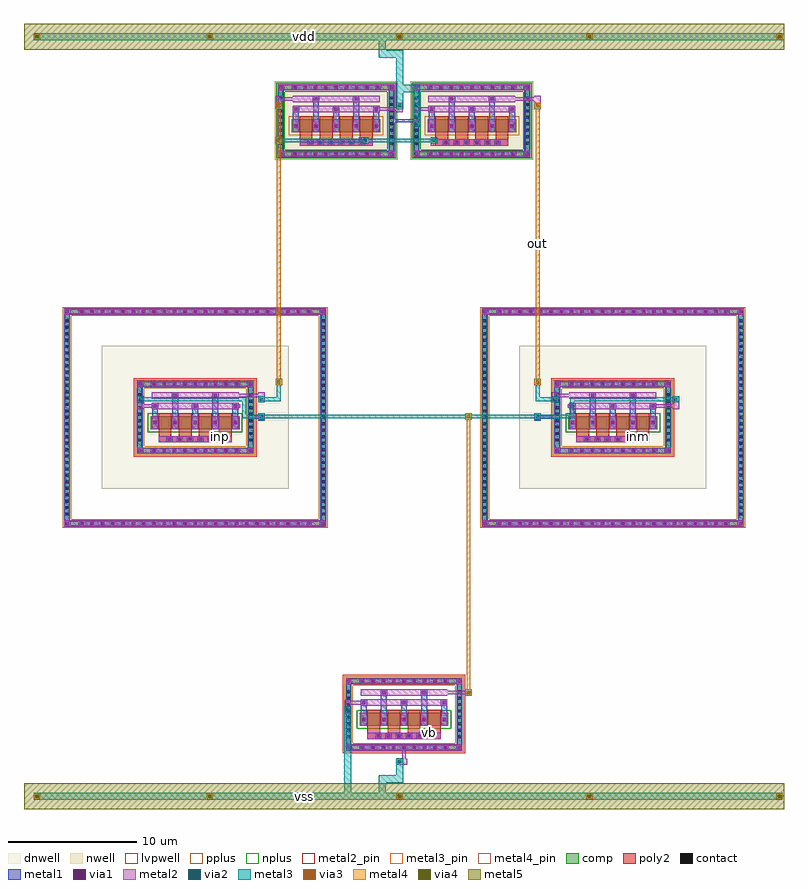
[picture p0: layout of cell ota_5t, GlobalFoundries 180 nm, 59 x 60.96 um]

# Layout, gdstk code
import gdstk
lib = gdstk.Library(unit=1e-6, precision=1e-09)
def R(c, l, rs):  # rectangles x0, y0, x1, y1
    for r in rs: c.add(gdstk.rectangle(r[:2], r[2:], *l))
def A(c, l, x, y, w, h, nx, ny, dx, dy):  # array of equal rectangles
    R(c, l, [(x+i*dx, y+j*dy, x+i*dx+w, y+j*dy+h) for i in range(nx) for j in range(ny)])
def P(c, l, *ps):  # polygons
    for p in ps: c.add(gdstk.Polygon(p, *l))
dnwell = (12, 0)
nwell = (21, 0)
comp = (22, 0)
poly2 = (30, 0)
pplus = (31, 0)
nplus = (32, 0)
contact = (33, 0)
metal1 = (34, 0)
via1 = (35, 0)
metal2 = (36, 0)
metal2_pin = (36, 10)
via2 = (38, 0)
via3 = (40, 0)
via4 = (41, 0)
metal3 = (42, 0)
metal3_pin = (42, 10)
metal4 = (46, 0)
metal4_pin = (46, 10)
metal5 = (81, 0)
lvpwell = (204, 0)

ota_5t = lib.new_cell('ota_5t')
R(ota_5t, dnwell, [(-23.48,20.54,-8.94,31.64), (8.94,20.54,23.48,31.64)])
R(ota_5t, nwell, [(-10.04,46.08,-0.5,52.18), (0.5,46.08,10.04,52.18)])
A(ota_5t, comp, -3.38, 0.28, 0.36, 0.36, 9, 2, 0.8, 5.18)
A(ota_5t, comp, -4.49, 1.12, 0.36, 0.36, 1, 8, 0, 0.5)
A(ota_5t, comp, 4.13, 1.12, 0.36, 0.36, 1, 8, 0, 0.5)
A(ota_5t, comp, -25.19, 17.68, 0.36, 0.36, 23, 2, 0.8, 16.46)
A(ota_5t, comp, 7.23, 17.68, 0.36, 0.36, 23, 2, 0.8, 16.46)
A(ota_5t, comp, -26.34, 18.41, 0.36, 0.36, 1, 31, 0, 0.5)
A(ota_5t, comp, -6.44, 18.41, 0.36, 0.36, 1, 31, 0, 0.5)
A(ota_5t, comp, 6.08, 18.41, 0.36, 0.36, 1, 31, 0, 0.5)
A(ota_5t, comp, 25.98, 18.41, 0.36, 0.36, 1, 31, 0, 0.5)
A(ota_5t, comp, -19.59, 23.32, 0.36, 0.36, 9, 2, 0.8, 5.18)
A(ota_5t, comp, 12.83, 23.32, 0.36, 0.36, 9, 2, 0.8, 5.18)
A(ota_5t, comp, -20.7, 24.16, 0.36, 0.36, 1, 8, 0, 0.5)
A(ota_5t, comp, -12.08, 24.16, 0.36, 0.36, 1, 8, 0, 0.5)
A(ota_5t, comp, 11.72, 24.16, 0.36, 0.36, 1, 8, 0, 0.5)
A(ota_5t, comp, 20.34, 24.16, 0.36, 0.36, 1, 8, 0, 0.5)
A(ota_5t, comp, -8.65, 46.36, 0.36, 0.36, 9, 2, 0.8, 5.18)
A(ota_5t, comp, 1.89, 46.36, 0.36, 0.36, 9, 2, 0.8, 5.18)
A(ota_5t, comp, -9.76, 47.2, 0.36, 0.36, 1, 8, 0, 0.5)
A(ota_5t, comp, -1.14, 47.2, 0.36, 0.36, 1, 8, 0, 0.5)
A(ota_5t, comp, 0.78, 47.2, 0.36, 0.36, 1, 8, 0, 0.5)
A(ota_5t, comp, 9.4, 47.2, 0.36, 0.36, 1, 8, 0, 0.5)
R(ota_5t, comp, [(-3.38,0.28,3.38,0.64), (-4.49,1.12,-4.13,4.98), (4.13,1.12,4.49,4.98), (-3.44,2.145,3.44,3.145), (-3.38,5.46,3.38,5.82), (-25.19,17.68,-7.23,18.04), (7.23,17.68,25.19,18.04), (-26.34,18.41,-25.98,33.77), (-6.44,18.41,-6.08,33.77), (6.08,18.41,6.44,33.77), (25.98,18.41,26.34,33.77), (-19.59,23.32,-12.83,23.68), (12.83,23.32,19.59,23.68), (-20.7,24.16,-20.34,28.02), (-12.08,24.16,-11.72,28.02), (11.72,24.16,12.08,28.02), (20.34,24.16,20.7,28.02), (-19.65,25.185,-12.77,26.185), (12.77,25.185,19.65,26.185), (-19.59,28.5,-12.83,28.86), (12.83,28.5,19.59,28.86), (-25.19,34.14,-7.23,34.5), (7.23,34.14,25.19,34.5), (-8.65,46.36,-1.89,46.72), (1.89,46.36,8.65,46.72), (-9.76,47.2,-9.4,51.06), (-1.14,47.2,-0.78,51.06), (0.78,47.2,1.14,51.06), (9.4,47.2,9.76,51.06), (-8.71,48.225,-1.83,49.225), (1.83,48.225,8.71,49.225), (-8.65,51.54,-1.89,51.9), (1.89,51.54,8.65,51.9)])
P(ota_5t, comp, [(-6.08,34.5),(-26.34,34.5),(-26.34,18.04),(-25.98,18.04),(-25.98,34.14),(-6.44,34.14),(-6.44,18.04),(-25.98,18.04),(-26.34,18.04),(-26.34,17.68),(-6.08,17.68)],
  [(-11.72,28.86),(-20.7,28.86),(-20.7,23.68),(-20.34,23.68),(-20.34,28.5),(-12.08,28.5),(-12.08,23.68),(-20.34,23.68),(-20.7,23.68),(-20.7,23.32),(-11.72,23.32)],
  [(4.49,5.82),(-4.49,5.82),(-4.49,0.64),(-4.13,0.64),(-4.13,5.46),(4.13,5.46),(4.13,0.64),(-4.13,0.64),(-4.49,0.64),(-4.49,0.28),(4.49,0.28)],
  [(9.76,51.9),(0.78,51.9),(0.78,46.72),(1.14,46.72),(1.14,51.54),(9.4,51.54),(9.4,46.72),(1.14,46.72),(0.78,46.72),(0.78,46.36),(9.76,46.36)],
  [(-0.78,51.9),(-9.76,51.9),(-9.76,46.72),(-9.4,46.72),(-9.4,51.54),(-1.14,51.54),(-1.14,46.72),(-9.4,46.72),(-9.76,46.72),(-9.76,46.36),(-0.78,46.36)],
  [(26.34,34.5),(6.08,34.5),(6.08,18.04),(6.44,18.04),(6.44,34.14),(25.98,34.14),(25.98,18.04),(6.44,18.04),(6.08,18.04),(6.08,17.68),(26.34,17.68)],
  [(20.7,28.86),(11.72,28.86),(11.72,23.68),(12.08,23.68),(12.08,28.5),(20.34,28.5),(20.34,23.68),(12.08,23.68),(11.72,23.68),(11.72,23.32),(20.7,23.32)])
A(ota_5t, poly2, -2.18, 1.175, 0.36, 0.36, 6, 1, 0.8, 0)
A(ota_5t, poly2, -2.84, 1.605, 1, 0.3, 4, 1, 1.56, 0)
A(ota_5t, poly2, -2.84, 1.905, 1, 1.48, 4, 1, 1.56, 0)
A(ota_5t, poly2, -18.39, 24.215, 0.36, 0.36, 6, 1, 0.8, 0)
A(ota_5t, poly2, 14.03, 24.215, 0.36, 0.36, 6, 1, 0.8, 0)
A(ota_5t, poly2, -19.05, 24.645, 1, 0.3, 4, 1, 1.56, 0)
A(ota_5t, poly2, 13.37, 24.645, 1, 0.3, 4, 1, 1.56, 0)
A(ota_5t, poly2, -19.05, 24.945, 1, 1.48, 4, 1, 1.56, 0)
A(ota_5t, poly2, 13.37, 24.945, 1, 1.48, 4, 1, 1.56, 0)
A(ota_5t, poly2, -7.45, 47.255, 0.36, 0.36, 6, 1, 0.8, 0)
A(ota_5t, poly2, 3.09, 47.255, 0.36, 0.36, 6, 1, 0.8, 0)
A(ota_5t, poly2, -8.11, 47.685, 1, 0.3, 4, 1, 1.56, 0)
A(ota_5t, poly2, 2.43, 47.685, 1, 0.3, 4, 1, 1.56, 0)
A(ota_5t, poly2, -8.11, 47.985, 1, 1.48, 4, 1, 1.56, 0)
A(ota_5t, poly2, 2.43, 47.985, 1, 1.48, 4, 1, 1.56, 0)
R(ota_5t, poly2, [(-2.84,1.105,2.84,1.605), (-19.05,24.145,-13.37,24.645), (13.37,24.145,19.05,24.645), (-8.11,47.185,-2.43,47.685), (2.43,47.185,8.11,47.685)])
R(ota_5t, pplus, [(-8.94,47.995,-1.6,49.455), (1.6,47.995,8.94,49.455)])
P(ota_5t, pplus, [(-5.92,34.66),(-26.5,34.66),(-26.5,18.2),(-25.82,18.2),(-25.82,33.98),(-6.6,33.98),(-6.6,18.2),(-25.82,18.2),(-26.5,18.2),(-26.5,17.52),(-5.92,17.52)],
  [(-11.56,29.02),(-20.86,29.02),(-20.86,23.84),(-20.18,23.84),(-20.18,28.34),(-12.24,28.34),(-12.24,23.84),(-20.18,23.84),(-20.86,23.84),(-20.86,23.16),(-11.56,23.16)],
  [(4.65,5.98),(-4.65,5.98),(-4.65,0.8),(-3.97,0.8),(-3.97,5.3),(3.97,5.3),(3.97,0.8),(-3.97,0.8),(-4.65,0.8),(-4.65,0.12),(4.65,0.12)],
  [(26.5,34.66),(5.92,34.66),(5.92,18.2),(6.6,18.2),(6.6,33.98),(25.82,33.98),(25.82,18.2),(6.6,18.2),(5.92,18.2),(5.92,17.52),(26.5,17.52)],
  [(20.86,29.02),(11.56,29.02),(11.56,23.84),(12.24,23.84),(12.24,28.34),(20.18,28.34),(20.18,23.84),(12.24,23.84),(11.56,23.84),(11.56,23.16),(20.86,23.16)])
R(ota_5t, nplus, [(-3.67,1.915,3.67,3.375), (-19.88,24.955,-12.54,26.415), (12.54,24.955,19.88,26.415)])
P(ota_5t, nplus, [(9.92,52.06),(0.62,52.06),(0.62,46.88),(1.3,46.88),(1.3,51.38),(9.24,51.38),(9.24,46.88),(1.3,46.88),(0.62,46.88),(0.62,46.2),(9.92,46.2)],
  [(-0.62,52.06),(-9.92,52.06),(-9.92,46.88),(-9.24,46.88),(-9.24,51.38),(-1.3,51.38),(-1.3,46.88),(-9.24,46.88),(-9.92,46.88),(-9.92,46.2),(-0.62,46.2)])
A(ota_5t, contact, -3.31, 0.35, 0.22, 0.22, 9, 2, 0.8, 5.18)
A(ota_5t, contact, -4.42, 1.19, 0.22, 0.22, 1, 8, 0, 0.5)
A(ota_5t, contact, 4.2, 1.19, 0.22, 0.22, 1, 8, 0, 0.5)
A(ota_5t, contact, -2.11, 1.245, 0.22, 0.22, 6, 1, 0.8, 0)
A(ota_5t, contact, -3.23, 2.535, 0.22, 0.22, 5, 1, 1.56, 0)
A(ota_5t, contact, -25.12, 17.75, 0.22, 0.22, 23, 2, 0.8, 16.46)
A(ota_5t, contact, 7.3, 17.75, 0.22, 0.22, 23, 2, 0.8, 16.46)
A(ota_5t, contact, -26.27, 18.48, 0.22, 0.22, 1, 31, 0, 0.5)
A(ota_5t, contact, -6.37, 18.48, 0.22, 0.22, 1, 31, 0, 0.5)
A(ota_5t, contact, 6.15, 18.48, 0.22, 0.22, 1, 31, 0, 0.5)
A(ota_5t, contact, 26.05, 18.48, 0.22, 0.22, 1, 31, 0, 0.5)
A(ota_5t, contact, -19.52, 23.39, 0.22, 0.22, 9, 2, 0.8, 5.18)
A(ota_5t, contact, 12.9, 23.39, 0.22, 0.22, 9, 2, 0.8, 5.18)
A(ota_5t, contact, -20.63, 24.23, 0.22, 0.22, 1, 8, 0, 0.5)
A(ota_5t, contact, -12.01, 24.23, 0.22, 0.22, 1, 8, 0, 0.5)
A(ota_5t, contact, 11.79, 24.23, 0.22, 0.22, 1, 8, 0, 0.5)
A(ota_5t, contact, 20.41, 24.23, 0.22, 0.22, 1, 8, 0, 0.5)
A(ota_5t, contact, -18.32, 24.285, 0.22, 0.22, 6, 1, 0.8, 0)
A(ota_5t, contact, 14.1, 24.285, 0.22, 0.22, 6, 1, 0.8, 0)
A(ota_5t, contact, -19.44, 25.575, 0.22, 0.22, 5, 1, 1.56, 0)
A(ota_5t, contact, 12.98, 25.575, 0.22, 0.22, 5, 1, 1.56, 0)
A(ota_5t, contact, -8.58, 46.43, 0.22, 0.22, 9, 2, 0.8, 5.18)
A(ota_5t, contact, 1.96, 46.43, 0.22, 0.22, 9, 2, 0.8, 5.18)
A(ota_5t, contact, -9.69, 47.27, 0.22, 0.22, 1, 8, 0, 0.5)
A(ota_5t, contact, -1.07, 47.27, 0.22, 0.22, 1, 8, 0, 0.5)
A(ota_5t, contact, 0.85, 47.27, 0.22, 0.22, 1, 8, 0, 0.5)
A(ota_5t, contact, 9.47, 47.27, 0.22, 0.22, 1, 8, 0, 0.5)
A(ota_5t, contact, -7.38, 47.325, 0.22, 0.22, 6, 1, 0.8, 0)
A(ota_5t, contact, 3.16, 47.325, 0.22, 0.22, 6, 1, 0.8, 0)
A(ota_5t, contact, -8.5, 48.615, 0.22, 0.22, 5, 1, 1.56, 0)
A(ota_5t, contact, 2.04, 48.615, 0.22, 0.22, 5, 1, 1.56, 0)
A(ota_5t, metal1, -3.45, 0.21, 0.5, 0.5, 9, 2, 0.8, 5.18)
A(ota_5t, metal1, -4.54, 1.07, 0.46, 0.46, 1, 8, 0, 0.5)
A(ota_5t, metal1, 4.08, 1.07, 0.46, 0.46, 1, 8, 0, 0.5)
A(ota_5t, metal1, -2.25, 1.105, 0.5, 0.5, 6, 1, 0.8, 0)
A(ota_5t, metal1, -3.35, 2.145, 0.46, 1, 5, 1, 1.56, 0)
A(ota_5t, metal1, -3.35, 2.415, 0.46, 0.46, 5, 1, 1.56, 0)
A(ota_5t, metal1, -3.35, 3.145, 0.46, 1.05, 3, 1, 3.12, 0)
A(ota_5t, metal1, -3.37, 3.695, 0.5, 0.5, 3, 1, 3.12, 0)
A(ota_5t, metal1, -25.26, 17.61, 0.5, 0.5, 23, 2, 0.8, 16.46)
A(ota_5t, metal1, 7.16, 17.61, 0.5, 0.5, 23, 2, 0.8, 16.46)
A(ota_5t, metal1, -26.39, 18.36, 0.46, 0.46, 1, 31, 0, 0.5)
A(ota_5t, metal1, -6.49, 18.36, 0.46, 0.46, 1, 31, 0, 0.5)
A(ota_5t, metal1, 6.03, 18.36, 0.46, 0.46, 1, 31, 0, 0.5)
A(ota_5t, metal1, 25.93, 18.36, 0.46, 0.46, 1, 31, 0, 0.5)
A(ota_5t, metal1, -19.66, 23.25, 0.5, 0.5, 9, 2, 0.8, 5.18)
A(ota_5t, metal1, 12.76, 23.25, 0.5, 0.5, 9, 2, 0.8, 5.18)
A(ota_5t, metal1, -20.75, 24.11, 0.46, 0.46, 1, 8, 0, 0.5)
A(ota_5t, metal1, -12.13, 24.11, 0.46, 0.46, 1, 8, 0, 0.5)
A(ota_5t, metal1, 11.67, 24.11, 0.46, 0.46, 1, 8, 0, 0.5)
A(ota_5t, metal1, 20.29, 24.11, 0.46, 0.46, 1, 8, 0, 0.5)
A(ota_5t, metal1, -18.46, 24.145, 0.5, 0.5, 6, 1, 0.8, 0)
A(ota_5t, metal1, 13.96, 24.145, 0.5, 0.5, 6, 1, 0.8, 0)
A(ota_5t, metal1, -19.56, 25.185, 0.46, 1, 5, 1, 1.56, 0)
A(ota_5t, metal1, 12.86, 25.185, 0.46, 1, 5, 1, 1.56, 0)
A(ota_5t, metal1, -19.56, 25.455, 0.46, 0.46, 5, 1, 1.56, 0)
A(ota_5t, metal1, 12.86, 25.455, 0.46, 0.46, 5, 1, 1.56, 0)
A(ota_5t, metal1, -19.56, 26.185, 0.46, 1.05, 3, 1, 3.12, 0)
A(ota_5t, metal1, 12.86, 26.185, 0.46, 1.05, 3, 1, 3.12, 0)
A(ota_5t, metal1, -19.58, 26.735, 0.5, 0.5, 3, 1, 3.12, 0)
A(ota_5t, metal1, 12.84, 26.735, 0.5, 0.5, 3, 1, 3.12, 0)
A(ota_5t, metal1, -8.72, 46.29, 0.5, 0.5, 9, 2, 0.8, 5.18)
A(ota_5t, metal1, 1.82, 46.29, 0.5, 0.5, 9, 2, 0.8, 5.18)
A(ota_5t, metal1, -9.81, 47.15, 0.46, 0.46, 1, 8, 0, 0.5)
A(ota_5t, metal1, -1.19, 47.15, 0.46, 0.46, 1, 8, 0, 0.5)
A(ota_5t, metal1, 0.73, 47.15, 0.46, 0.46, 1, 8, 0, 0.5)
A(ota_5t, metal1, 9.35, 47.15, 0.46, 0.46, 1, 8, 0, 0.5)
A(ota_5t, metal1, -7.52, 47.185, 0.5, 0.5, 6, 1, 0.8, 0)
A(ota_5t, metal1, 3.02, 47.185, 0.5, 0.5, 6, 1, 0.8, 0)
A(ota_5t, metal1, -8.62, 48.225, 0.46, 1, 5, 1, 1.56, 0)
A(ota_5t, metal1, 1.92, 48.225, 0.46, 1, 5, 1, 1.56, 0)
A(ota_5t, metal1, -8.62, 48.495, 0.46, 0.46, 5, 1, 1.56, 0)
A(ota_5t, metal1, 1.92, 48.495, 0.46, 0.46, 5, 1, 1.56, 0)
A(ota_5t, metal1, -8.62, 49.225, 0.46, 1.05, 3, 1, 3.12, 0)
A(ota_5t, metal1, 1.92, 49.225, 0.46, 1.05, 3, 1, 3.12, 0)
A(ota_5t, metal1, -8.64, 49.775, 0.5, 0.5, 3, 1, 3.12, 0)
A(ota_5t, metal1, 1.9, 49.775, 0.5, 0.5, 3, 1, 3.12, 0)
R(ota_5t, metal1, [(-4.54,0.21,-4.04,0.71), (-4.54,0.21,-4.04,0.71), (-4.54,0.21,-4.08,0.64), (-3.45,0.21,3.45,0.71), (4.04,0.21,4.54,0.71), (4.04,0.21,4.54,0.71), (4.08,0.21,4.54,0.64), (-4.54,0.64,-4.08,5.46), (4.08,0.64,4.54,5.46), (-3.37,2.395,-2.87,2.895), (-3.37,2.395,-2.87,2.895), (-1.81,2.395,-1.31,2.895), (-1.81,2.395,-1.31,2.895), (-0.25,2.395,0.25,2.895), (-0.25,2.395,0.25,2.895), (1.31,2.395,1.81,2.895), (1.31,2.395,1.81,2.895), (2.87,2.395,3.37,2.895), (2.87,2.395,3.37,2.895), (-1.79,3.145,-1.33,4.995), (1.33,3.145,1.79,4.995), (-1.81,4.495,-1.31,4.995), (1.31,4.495,1.81,4.995), (-4.54,5.39,-4.04,5.89), (-4.54,5.39,-4.04,5.89), (-3.45,5.39,3.45,5.89), (4.04,5.39,4.54,5.89), (4.04,5.39,4.54,5.89), (-4.54,5.46,-4.08,5.89), (4.08,5.46,4.54,5.89), (-26.39,17.61,-25.89,18.11), (-26.39,17.61,-25.89,18.11), (-26.39,17.61,-25.93,18.04), (-25.26,17.61,-7.16,18.11), (-6.53,17.61,-6.03,18.11), (-6.53,17.61,-6.03,18.11), (-6.49,17.61,-6.03,18.04), (6.03,17.61,6.53,18.11), (6.03,17.61,6.53,18.11), (6.03,17.61,6.49,18.04), (7.16,17.61,25.26,18.11), (25.89,17.61,26.39,18.11), (25.89,17.61,26.39,18.11), (25.93,17.61,26.39,18.04), (-26.39,18.04,-25.93,34.14), (-6.49,18.04,-6.03,34.14), (6.03,18.04,6.49,34.14), (25.93,18.04,26.39,34.14), (-20.75,23.25,-20.25,23.75), (-20.75,23.25,-20.25,23.75), (-20.75,23.25,-20.29,23.68), (-19.66,23.25,-12.76,23.75), (-12.17,23.25,-11.67,23.75), (-12.17,23.25,-11.67,23.75), (-12.13,23.25,-11.67,23.68), (11.67,23.25,12.17,23.75), (11.67,23.25,12.17,23.75), (11.67,23.25,12.13,23.68), (12.76,23.25,19.66,23.75), (20.25,23.25,20.75,23.75), (20.25,23.25,20.75,23.75), (20.29,23.25,20.75,23.68), (-20.75,23.68,-20.29,28.5), (-12.13,23.68,-11.67,28.5), (11.67,23.68,12.13,28.5), (20.29,23.68,20.75,28.5), (-19.58,25.435,-19.08,25.935), (-19.58,25.435,-19.08,25.935), (-18.02,25.435,-17.52,25.935), (-18.02,25.435,-17.52,25.935), (-16.46,25.435,-15.96,25.935), (-16.46,25.435,-15.96,25.935), (-14.9,25.435,-14.4,25.935), (-14.9,25.435,-14.4,25.935), (-13.34,25.435,-12.84,25.935), (-13.34,25.435,-12.84,25.935), (12.84,25.435,13.34,25.935), (12.84,25.435,13.34,25.935), (14.4,25.435,14.9,25.935), (14.4,25.435,14.9,25.935), (15.96,25.435,16.46,25.935), (15.96,25.435,16.46,25.935), (17.52,25.435,18.02,25.935), (17.52,25.435,18.02,25.935), (19.08,25.435,19.58,25.935), (19.08,25.435,19.58,25.935), (-11.31,25.84,-10.81,26.41), (10.13,25.84,10.63,26.41), (-11.31,25.91,-10.81,26.41), (10.13,25.91,10.63,26.41), (-11.785,25.975,-10.945,26.205), (10.265,25.975,11.785,26.205), (-18,26.185,-17.54,28.035), (-14.88,26.185,-14.42,28.035), (14.42,26.185,14.88,28.035), (17.54,26.185,18,28.035), (-18.02,27.535,-17.52,28.035), (-14.9,27.535,-14.4,28.035), (14.4,27.535,14.9,28.035), (17.52,27.535,18.02,28.035), (-20.75,28.43,-20.25,28.93), (-20.75,28.43,-20.25,28.93), (-19.66,28.43,-12.76,28.93), (-12.17,28.43,-11.67,28.93), (-12.17,28.43,-11.67,28.93), (11.67,28.43,12.17,28.93), (11.67,28.43,12.17,28.93), (12.76,28.43,19.66,28.93), (20.25,28.43,20.75,28.93), (20.25,28.43,20.75,28.93), (-20.75,28.5,-20.29,28.93), (-12.13,28.5,-11.67,28.93), (11.67,28.5,12.13,28.93), (20.29,28.5,20.75,28.93), (-26.39,34.07,-25.89,34.57), (-26.39,34.07,-25.89,34.57), (-25.26,34.07,-7.16,34.57), (-6.53,34.07,-6.03,34.57), (-6.53,34.07,-6.03,34.57), (6.03,34.07,6.53,34.57), (6.03,34.07,6.53,34.57), (7.16,34.07,25.26,34.57), (25.89,34.07,26.39,34.57), (25.89,34.07,26.39,34.57), (-26.39,34.14,-25.93,34.57), (-6.49,34.14,-6.03,34.57), (6.03,34.14,6.49,34.57), (25.93,34.14,26.39,34.57), (-9.81,46.29,-9.31,46.79), (-9.81,46.29,-9.31,46.79), (-9.81,46.29,-9.35,46.72), (-8.72,46.29,-1.82,46.79), (-1.23,46.29,-0.73,46.79), (-1.23,46.29,-0.73,46.79), (-1.19,46.29,-0.73,46.72), (0.73,46.29,1.23,46.79), (0.73,46.29,1.23,46.79), (0.73,46.29,1.19,46.72), (1.82,46.29,8.72,46.79), (9.31,46.29,9.81,46.79), (9.31,46.29,9.81,46.79), (9.35,46.29,9.81,46.72), (-9.81,46.72,-9.35,51.54), (-1.19,46.72,-0.73,51.54), (0.73,46.72,1.19,51.54), (9.35,46.72,9.81,51.54), (-8.64,48.475,-8.14,48.975), (-8.64,48.475,-8.14,48.975), (-7.08,48.475,-6.58,48.975), (-7.08,48.475,-6.58,48.975), (-5.52,48.475,-5.02,48.975), (-5.52,48.475,-5.02,48.975), (-3.96,48.475,-3.46,48.975), (-3.96,48.475,-3.46,48.975), (-2.4,48.475,-1.9,48.975), (-2.4,48.475,-1.9,48.975), (1.9,48.475,2.4,48.975), (1.9,48.475,2.4,48.975), (3.46,48.475,3.96,48.975), (3.46,48.475,3.96,48.975), (5.02,48.475,5.52,48.975), (5.02,48.475,5.52,48.975), (6.58,48.475,7.08,48.975), (6.58,48.475,7.08,48.975), (8.14,48.475,8.64,48.975), (8.14,48.475,8.64,48.975), (0.75,48.69,1.25,49.38), (0.75,48.69,1.25,49.38), (0.75,48.69,1.25,49.38), (0.75,48.69,1.25,49.38), (0.75,48.69,1.25,49.19), (-0.845,49.015,1.115,49.245), (-0.845,49.015,1.115,49.245), (0.615,49.015,1.115,49.245), (0.615,49.015,1.115,49.245), (-7.06,49.225,-6.6,51.075), (-3.94,49.225,-3.48,51.075), (3.48,49.225,3.94,51.075), (6.6,49.225,7.06,51.075), (-7.08,50.575,-6.58,51.075), (-3.96,50.575,-3.46,51.075), (3.46,50.575,3.96,51.075), (6.58,50.575,7.08,51.075), (-9.81,51.47,-9.31,51.97), (-9.81,51.47,-9.31,51.97), (-8.72,51.47,-1.82,51.97), (-1.23,51.47,-0.73,51.97), (-1.23,51.47,-0.73,51.97), (0.73,51.47,1.23,51.97), (0.73,51.47,1.23,51.97), (1.82,51.47,8.72,51.97), (9.31,51.47,9.81,51.97), (9.31,51.47,9.81,51.97), (-9.81,51.54,-9.35,51.97), (-1.19,51.54,-0.73,51.97), (0.73,51.54,1.19,51.97), (9.35,51.54,9.81,51.97)])
A(ota_5t, via1, -3.33, 0.33, 0.26, 0.26, 9, 2, 0.8, 5.18)
A(ota_5t, via1, -2.13, 1.225, 0.26, 0.26, 6, 1, 0.8, 0)
A(ota_5t, via1, -3.25, 2.515, 0.26, 0.26, 5, 1, 1.56, 0)
A(ota_5t, via1, -3.25, 3.815, 0.26, 0.26, 3, 1, 3.12, 0)
A(ota_5t, via1, -25.14, 17.73, 0.26, 0.26, 23, 2, 0.8, 16.46)
A(ota_5t, via1, 7.28, 17.73, 0.26, 0.26, 23, 2, 0.8, 16.46)
A(ota_5t, via1, -19.54, 23.37, 0.26, 0.26, 9, 2, 0.8, 5.18)
A(ota_5t, via1, 12.88, 23.37, 0.26, 0.26, 9, 2, 0.8, 5.18)
A(ota_5t, via1, -18.34, 24.265, 0.26, 0.26, 6, 1, 0.8, 0)
A(ota_5t, via1, 14.08, 24.265, 0.26, 0.26, 6, 1, 0.8, 0)
A(ota_5t, via1, -19.46, 25.555, 0.26, 0.26, 5, 1, 1.56, 0)
A(ota_5t, via1, 12.96, 25.555, 0.26, 0.26, 5, 1, 1.56, 0)
A(ota_5t, via1, -19.46, 26.855, 0.26, 0.26, 3, 1, 3.12, 0)
A(ota_5t, via1, 12.96, 26.855, 0.26, 0.26, 3, 1, 3.12, 0)
A(ota_5t, via1, -8.6, 46.41, 0.26, 0.26, 9, 2, 0.8, 5.18)
A(ota_5t, via1, 1.94, 46.41, 0.26, 0.26, 9, 2, 0.8, 5.18)
A(ota_5t, via1, -7.4, 47.305, 0.26, 0.26, 6, 1, 0.8, 0)
A(ota_5t, via1, 3.14, 47.305, 0.26, 0.26, 6, 1, 0.8, 0)
A(ota_5t, via1, -8.52, 48.595, 0.26, 0.26, 5, 1, 1.56, 0)
A(ota_5t, via1, 2.02, 48.595, 0.26, 0.26, 5, 1, 1.56, 0)
A(ota_5t, via1, -8.52, 49.895, 0.26, 0.26, 3, 1, 3.12, 0)
A(ota_5t, via1, 2.02, 49.895, 0.26, 0.26, 3, 1, 3.12, 0)
R(ota_5t, via1, [(-4.42,0.33,-4.16,0.59), (4.16,0.33,4.42,0.59), (-1.69,4.615,-1.43,4.875), (1.43,4.615,1.69,4.875), (-4.42,5.51,-4.16,5.77), (4.16,5.51,4.42,5.77), (-26.27,17.73,-26.01,17.99), (-6.41,17.73,-6.15,17.99), (6.15,17.73,6.41,17.99), (26.01,17.73,26.27,17.99), (-20.63,23.37,-20.37,23.63), (-12.05,23.37,-11.79,23.63), (11.79,23.37,12.05,23.63), (20.37,23.37,20.63,23.63), (-11.19,26.03,-10.93,26.29), (10.25,26.03,10.51,26.29), (-17.9,27.655,-17.64,27.915), (-14.78,27.655,-14.52,27.915), (14.52,27.655,14.78,27.915), (17.64,27.655,17.9,27.915), (-20.63,28.55,-20.37,28.81), (-12.05,28.55,-11.79,28.81), (11.79,28.55,12.05,28.81), (20.37,28.55,20.63,28.81), (-26.27,34.19,-26.01,34.45), (-6.41,34.19,-6.15,34.45), (6.15,34.19,6.41,34.45), (26.01,34.19,26.27,34.45), (-9.69,46.41,-9.43,46.67), (-1.11,46.41,-0.85,46.67), (0.85,46.41,1.11,46.67), (9.43,46.41,9.69,46.67), (0.87,48.81,1.13,49.07), (-6.96,50.695,-6.7,50.955), (-3.84,50.695,-3.58,50.955), (3.58,50.695,3.84,50.955), (6.7,50.695,6.96,50.955), (-9.69,51.59,-9.43,51.85), (-1.11,51.59,-0.85,51.85), (0.85,51.59,1.11,51.85), (9.43,51.59,9.69,51.85)])
A(ota_5t, metal2, -3.45, 0.21, 0.5, 0.5, 9, 2, 0.8, 5.18)
A(ota_5t, metal2, -2.25, 1.105, 0.5, 0.5, 6, 1, 0.8, 0)
A(ota_5t, metal2, -3.37, 2.145, 0.5, 1, 5, 1, 1.56, 0)
A(ota_5t, metal2, -3.37, 2.395, 0.5, 0.5, 5, 1, 1.56, 0)
A(ota_5t, metal2, -3.37, 3.695, 0.5, 0.5, 3, 1, 3.12, 0)
A(ota_5t, metal2, -25.26, 17.61, 0.5, 0.5, 23, 2, 0.8, 16.46)
A(ota_5t, metal2, 7.16, 17.61, 0.5, 0.5, 23, 2, 0.8, 16.46)
A(ota_5t, metal2, -19.66, 23.25, 0.5, 0.5, 9, 2, 0.8, 5.18)
A(ota_5t, metal2, 12.76, 23.25, 0.5, 0.5, 9, 2, 0.8, 5.18)
A(ota_5t, metal2, -18.46, 24.145, 0.5, 0.5, 6, 1, 0.8, 0)
A(ota_5t, metal2, 13.96, 24.145, 0.5, 0.5, 6, 1, 0.8, 0)
A(ota_5t, metal2, -19.58, 25.185, 0.5, 1, 5, 1, 1.56, 0)
A(ota_5t, metal2, 12.84, 25.185, 0.5, 1, 5, 1, 1.56, 0)
A(ota_5t, metal2, -19.58, 25.435, 0.5, 0.5, 5, 1, 1.56, 0)
A(ota_5t, metal2, 12.84, 25.435, 0.5, 0.5, 5, 1, 1.56, 0)
A(ota_5t, metal2, -19.58, 26.735, 0.5, 0.5, 3, 1, 3.12, 0)
A(ota_5t, metal2, 12.84, 26.735, 0.5, 0.5, 3, 1, 3.12, 0)
A(ota_5t, metal2, -8.72, 46.29, 0.5, 0.5, 9, 2, 0.8, 5.18)
A(ota_5t, metal2, 1.82, 46.29, 0.5, 0.5, 9, 2, 0.8, 5.18)
A(ota_5t, metal2, -7.52, 47.185, 0.5, 0.5, 6, 1, 0.8, 0)
A(ota_5t, metal2, 3.02, 47.185, 0.5, 0.5, 6, 1, 0.8, 0)
A(ota_5t, metal2, -8.64, 48.225, 0.5, 1, 5, 1, 1.56, 0)
A(ota_5t, metal2, 1.9, 48.225, 0.5, 1, 5, 1, 1.56, 0)
A(ota_5t, metal2, -8.64, 48.475, 0.5, 0.5, 5, 1, 1.56, 0)
A(ota_5t, metal2, 1.9, 48.475, 0.5, 0.5, 5, 1, 1.56, 0)
A(ota_5t, metal2, -8.64, 49.775, 0.5, 0.5, 3, 1, 3.12, 0)
A(ota_5t, metal2, 1.9, 49.775, 0.5, 0.5, 3, 1, 3.12, 0)
R(ota_5t, metal2, [(-0.59,-0.89,0.25,-0.39), (-0.59,-0.89,-0.09,-0.39), (-0.14,-0.78,0.14,0.35), (-4.54,0.21,-4.04,0.71), (-4.54,0.21,-4.04,0.71), (-4.54,0.21,-4.13,0.71), (-4.13,0.21,4.13,0.71), (4.04,0.21,4.54,0.71), (4.04,0.21,4.54,0.71), (4.13,0.21,4.54,0.71), (-2.84,1.105,2.84,1.605), (-4.61,3.13,-4.11,4.19), (-4.61,3.13,-4.11,3.63), (-3.37,3.695,3.37,4.195), (-4.5,3.8,-3.23,4.08), (4.77,4.47,5.27,4.99), (4.77,4.47,5.27,4.97), (-3.37,4.495,3.37,4.995), (-1.81,4.495,-1.31,4.995), (1.31,4.495,1.81,4.995), (3.23,4.6,5.16,4.88), (-4.54,5.39,-4.04,5.89), (-4.54,5.39,-4.04,5.89), (-4.54,5.39,-4.13,5.89), (-4.13,5.39,4.13,5.89), (4.04,5.39,4.54,5.89), (4.04,5.39,4.54,5.89), (4.13,5.39,4.54,5.89), (-26.39,17.61,-25.89,18.11), (-26.39,17.61,-25.89,18.11), (-26.39,17.61,-25.98,18.11), (-25.98,17.61,-6.44,18.11), (-6.53,17.61,-6.03,18.11), (-6.53,17.61,-6.03,18.11), (-6.44,17.61,-6.03,18.11), (6.03,17.61,6.53,18.11), (6.03,17.61,6.53,18.11), (6.03,17.61,6.44,18.11), (6.44,17.61,25.98,18.11), (25.89,17.61,26.39,18.11), (25.89,17.61,26.39,18.11), (25.98,17.61,26.39,18.11), (-20.75,23.25,-20.25,23.75), (-20.75,23.25,-20.25,23.75), (-20.75,23.25,-20.34,23.75), (-20.34,23.25,-12.08,23.75), (-12.17,23.25,-11.67,23.75), (-12.17,23.25,-11.67,23.75), (-12.08,23.25,-11.67,23.75), (11.67,23.25,12.17,23.75), (11.67,23.25,12.17,23.75), (11.67,23.25,12.08,23.75), (12.08,23.25,20.34,23.75), (20.25,23.25,20.75,23.75), (20.25,23.25,20.75,23.75), (20.34,23.25,20.75,23.75), (-19.05,24.145,-13.37,24.645), (13.37,24.145,19.05,24.645), (-11.31,25.91,-10.81,26.41), (10.13,25.91,10.63,26.41), (-20.69,26.73,-20.19,27.75), (20.85,26.73,21.35,27.75), (-19.58,26.735,-12.84,27.235), (12.84,26.735,19.58,27.235), (-20.58,26.84,-12.7,27.12), (12.7,26.84,21.24,27.12), (-20.69,27.25,-20.19,27.75), (-11.31,27.25,-10.81,28.03), (-11.31,27.25,-10.81,27.75), (11.47,27.25,11.97,28.03), (11.47,27.25,11.97,27.75), (20.85,27.25,21.35,27.75), (-19.58,27.535,-12.84,28.035), (-18.02,27.535,-17.52,28.035), (-14.9,27.535,-14.4,28.035), (12.84,27.535,19.58,28.035), (14.4,27.535,14.9,28.035), (17.52,27.535,18.02,28.035), (-12.98,27.64,-10.92,27.92), (11.58,27.64,12.98,27.92), (-20.75,28.43,-20.25,28.93), (-20.75,28.43,-20.25,28.93), (-20.75,28.43,-20.34,28.93), (-20.34,28.43,-12.08,28.93), (-12.17,28.43,-11.67,28.93), (-12.17,28.43,-11.67,28.93), (-12.08,28.43,-11.67,28.93), (11.67,28.43,12.17,28.93), (11.67,28.43,12.17,28.93), (11.67,28.43,12.08,28.93), (12.08,28.43,20.34,28.93), (20.25,28.43,20.75,28.93), (20.25,28.43,20.75,28.93), (20.34,28.43,20.75,28.93), (-26.39,34.07,-25.89,34.57), (-26.39,34.07,-25.89,34.57), (-26.39,34.07,-25.98,34.57), (-25.98,34.07,-6.44,34.57), (-6.53,34.07,-6.03,34.57), (-6.53,34.07,-6.03,34.57), (-6.44,34.07,-6.03,34.57), (6.03,34.07,6.53,34.57), (6.03,34.07,6.53,34.57), (6.03,34.07,6.44,34.57), (6.44,34.07,25.98,34.57), (25.89,34.07,26.39,34.57), (25.89,34.07,26.39,34.57), (25.98,34.07,26.39,34.57), (-9.81,46.29,-9.31,46.79), (-9.81,46.29,-9.31,46.79), (-9.81,46.29,-9.4,46.79), (-9.4,46.29,-1.14,46.79), (-1.23,46.29,-0.73,46.79), (-1.23,46.29,-0.73,46.79), (-1.14,46.29,-0.73,46.79), (0.73,46.29,1.23,46.79), (0.73,46.29,1.23,46.79), (0.73,46.29,1.14,46.79), (1.14,46.29,9.4,46.79), (9.31,46.29,9.81,46.79), (9.31,46.29,9.81,46.79), (9.4,46.29,9.81,46.79), (-8.11,47.185,-2.43,47.685), (2.43,47.185,8.11,47.685), (2.09,47.19,2.59,47.85), (2.2,47.3,2.57,47.58), (-3.52,47.35,-2.77,47.85), (-3.27,47.35,-2.77,47.85), (2.09,47.35,2.59,47.85), (-3.41,47.46,-3.13,47.82), (0.75,48.69,1.25,49.19), (-8.64,49.775,-1.9,50.275), (1.9,49.775,8.64,50.275), (-0.59,49.78,-0.09,50.53), (0.75,49.78,1.25,50.53), (-2.04,49.89,-0.2,50.17), (0.86,49.89,2.04,50.17), (-9.97,50.03,-9.47,51.07), (-9.97,50.03,-9.47,50.53), (-0.59,50.03,-0.09,50.53), (0.75,50.03,1.25,50.53), (10.13,50.03,10.63,51.07), (10.13,50.03,10.63,50.53), (-8.64,50.575,-1.9,51.075), (-7.08,50.575,-6.58,51.075), (-3.96,50.575,-3.46,51.075), (1.9,50.575,8.64,51.075), (3.46,50.575,3.96,51.075), (6.58,50.575,7.08,51.075), (-9.86,50.68,-8.5,50.96), (8.5,50.68,10.52,50.96), (-9.81,51.47,-9.31,51.97), (-9.81,51.47,-9.31,51.97), (-9.81,51.47,-9.4,51.97), (-9.4,51.47,-1.14,51.97), (-1.23,51.47,-0.73,51.97), (-1.23,51.47,-0.73,51.97), (-1.14,51.47,-0.73,51.97), (0.73,51.47,1.23,51.97), (0.73,51.47,1.23,51.97), (0.73,51.47,1.14,51.97), (1.14,51.47,9.4,51.97), (9.31,51.47,9.81,51.97), (9.31,51.47,9.81,51.97), (9.4,51.47,9.81,51.97)])
R(ota_5t, metal2_pin, [(1.86,1.465,2.14,1.745), (-14.35,24.505,-14.07,24.785), (18.07,24.505,18.35,24.785)])
R(ota_5t, via2, [(-0.47,-0.77,-0.21,-0.51), (-4.49,3.25,-4.23,3.51), (4.89,4.59,5.15,4.85), (-11.19,26.03,-10.93,26.29), (10.25,26.03,10.51,26.29), (-20.57,27.37,-20.31,27.63), (-11.19,27.37,-10.93,27.63), (11.59,27.37,11.85,27.63), (20.97,27.37,21.23,27.63), (-3.15,47.47,-2.89,47.73), (2.21,47.47,2.47,47.73), (0.87,48.81,1.13,49.07), (-9.85,50.15,-9.59,50.41), (-0.47,50.15,-0.21,50.41), (0.87,50.15,1.13,50.41), (10.25,50.15,10.51,50.41)])
A(ota_5t, via3, -15.21, -3.45, 0.26, 0.26, 4, 2, 14.74, 58.96)
R(ota_5t, via3, [(-28.61,-3.45,-28.35,-3.19), (4.89,4.59,5.15,4.85), (4.89,26.03,5.15,26.29), (-9.85,28.71,-9.59,28.97), (10.25,28.71,10.51,28.97), (-9.85,47.47,-9.59,47.73), (-9.85,50.15,-9.59,50.41), (10.25,50.15,10.51,50.41), (-28.61,55.51,-28.35,55.77)])
A(ota_5t, via4, -15.21, -3.45, 0.26, 0.26, 4, 2, 14.74, 58.96)
R(ota_5t, via4, [(-28.61,-3.45,-28.35,-3.19), (-28.61,55.51,-28.35,55.77)])
A(ota_5t, metal3, -15.36, -3.6, 15.3, 0.56, 3, 2, 14.74, 58.96)
A(ota_5t, metal3, -15.33, -3.57, 0.5, 0.5, 4, 2, 14.74, 58.96)
R(ota_5t, metal3, [(-28.76,-3.6,-14.8,-3.04), (-4.64,-3.6,-4.08,3.66), (-1.96,-3.6,-1.4,-1.7), (-28.73,-3.57,-28.23,-3.07), (-1.96,-2.26,-0.06,-1.7), (-0.62,-2.26,-0.06,-0.36), (-0.59,-0.89,-0.09,-0.39), (-4.61,3.13,-4.11,3.63), (4.77,4.47,5.27,4.97), (4.77,4.47,5.27,4.97), (-11.31,25.91,-10.81,26.41), (4.77,25.91,5.27,26.41), (10.13,25.91,10.63,26.41), (-12.54,26.02,-12.26,27.64), (-12.54,26.02,-10.92,26.3), (-11.2,26.02,10.52,26.3), (10.24,26.02,13.2,26.3), (12.92,26.02,13.2,27.64), (-20.69,27.25,-20.19,27.75), (-11.31,27.25,-10.81,27.75), (11.47,27.25,11.97,27.75), (20.85,27.25,21.35,27.75), (-20.58,27.36,-12.26,27.64), (-11.2,27.36,-9.58,27.64), (-9.86,27.36,-9.58,28.98), (10.24,27.36,10.52,28.98), (10.24,27.36,11.86,27.64), (12.92,27.36,21.24,27.64), (-9.97,28.59,-9.47,29.09), (10.13,28.59,10.63,29.09), (-9.97,47.35,-9.47,47.85), (-3.27,47.35,-2.77,47.85), (2.09,47.35,2.59,47.85), (-9.86,47.46,-2.88,47.74), (-3.16,47.46,2.48,47.74), (0.72,48.66,1.28,50.56), (0.75,48.69,1.25,49.19), (-0.62,50,-0.06,54.58), (0.72,50,1.28,51.9), (-9.97,50.03,-9.47,50.53), (-9.97,50.03,-9.47,50.53), (-0.59,50.03,-0.09,50.53), (0.75,50.03,1.25,50.53), (10.13,50.03,10.63,50.53), (10.13,50.03,10.63,50.53), (-0.62,51.34,1.28,51.9), (-1.96,54.02,-0.06,54.58), (-1.96,54.02,-1.4,55.92), (-28.76,55.36,-14.8,55.92), (-28.73,55.39,-28.23,55.89)])
R(ota_5t, metal3_pin, [(-7.99,-3.6,-7.43,-3.04), (-7.99,55.36,-7.43,55.92)])
A(ota_5t, metal4, -15.33, -3.57, 0.5, 0.5, 4, 2, 14.74, 58.96)
R(ota_5t, metal4, [(-28.73,-3.57,-28.23,-3.07), (4.77,4.47,5.27,4.97), (4.88,4.58,5.16,26.3), (4.77,25.91,5.27,26.41), (-9.97,28.59,-9.47,29.09), (10.13,28.59,10.63,29.09), (-9.86,28.7,-9.58,50.42), (10.24,28.7,10.52,50.42), (-9.97,47.35,-9.47,47.85), (-9.97,50.03,-9.47,50.53), (10.13,50.03,10.63,50.53), (-28.73,55.39,-28.23,55.89)])
R(ota_5t, metal4_pin, [(10.24,39.42,10.52,39.7)])
A(ota_5t, metal5, -15.33, -3.57, 0.5, 0.5, 4, 2, 14.74, 58.96)
R(ota_5t, metal5, [(-29.5,-4.32,29.5,-2.32), (-28.73,-3.57,-28.23,-3.07), (-29.5,54.64,29.5,56.64), (-28.73,55.39,-28.23,55.89)])
R(ota_5t, lvpwell, [(-4.77,0,4.77,6.1), (-20.98,23.04,-11.44,29.14), (11.44,23.04,20.98,29.14)])
ota_5t.add(gdstk.Label('vb', (2,1.605), layer=36, texttype=10))
ota_5t.add(gdstk.Label('out', (10.38,39.56), layer=46, texttype=10))
ota_5t.add(gdstk.Label('inm', (18.21,24.645), layer=36, texttype=10))
ota_5t.add(gdstk.Label('inp', (-14.21,24.645), layer=36, texttype=10))
ota_5t.add(gdstk.Label('vss', (-7.71,-3.32), layer=42, texttype=10))
ota_5t.add(gdstk.Label('vdd', (-7.71,55.64), layer=42, texttype=10))

lib.write_gds('ota_5t.gds')
